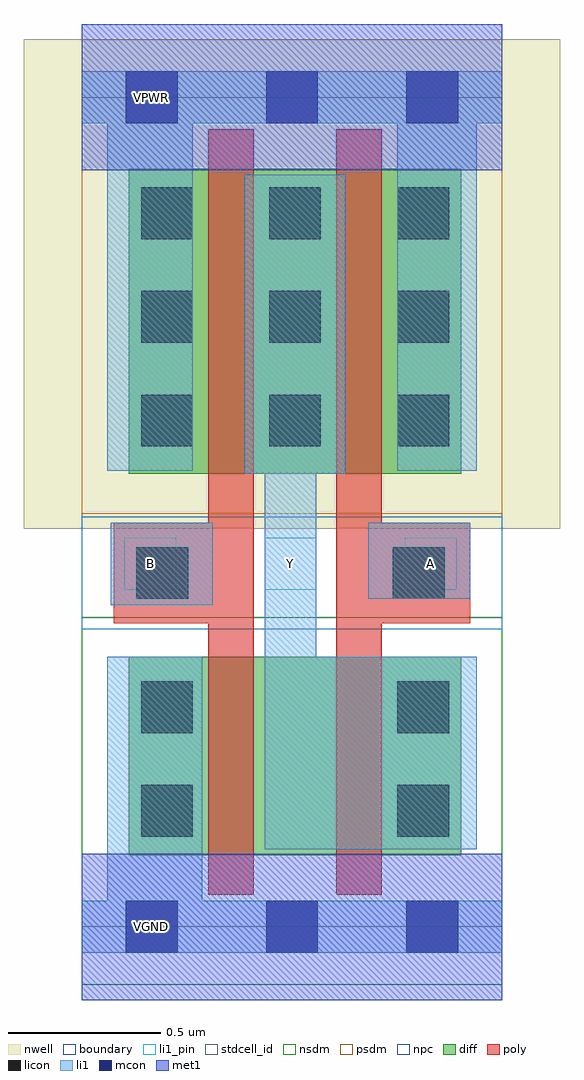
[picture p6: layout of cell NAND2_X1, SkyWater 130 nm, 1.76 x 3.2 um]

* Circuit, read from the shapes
.subckt NAND2_X1 A B VGND VPWR Y
XM1 n1 B VGND VSUBS sky130_fd_pr__nfet_01v8 w=0.65 l=0.15
XM2 Y A n1 VSUBS sky130_fd_pr__nfet_01v8 w=0.65 l=0.15
XM3 Y B VPWR n2 sky130_fd_pr__pfet_01v8 w=1 l=0.15
XM4 VPWR A Y n2 sky130_fd_pr__pfet_01v8 w=1 l=0.15
.ends

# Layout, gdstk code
import gdstk
lib = gdstk.Library(unit=1e-6, precision=1e-09)
def R(c, l, rs):  # rectangles x0, y0, x1, y1
    for r in rs: c.add(gdstk.rectangle(r[:2], r[2:], *l))
def A(c, l, x, y, w, h, nx, ny, dx, dy):  # array of equal rectangles
    R(c, l, [(x+i*dx, y+j*dy, x+i*dx+w, y+j*dy+h) for i in range(nx) for j in range(ny)])
nwell = (64, 20)
diff = (65, 20)
poly = (66, 20)
licon = (66, 44)
li1_pin = (67, 16)
li1 = (67, 20)
mcon = (67, 44)
met1 = (68, 20)
stdcell_id = (81, 4)
nsdm = (93, 44)
psdm = (94, 20)
npc = (95, 20)
boundary = (235, 4)

nand2_x1 = lib.new_cell('NAND2_X1')
R(nand2_x1, nwell, [(-0.19,1.305,1.57,2.91)])
R(nand2_x1, diff, [(0.155,0.235,1.245,0.885), (0.155,1.485,1.245,2.485)])
R(nand2_x1, poly, [(0.415,0.105,0.565,2.615), (0.835,0.105,0.985,2.615), (0.105,0.995,0.415,1.325), (0.985,0.995,1.275,1.325)])
A(nand2_x1, licon, 0.195, 1.575, 0.17, 0.17, 3, 3, 0.42, 0.34)
R(nand2_x1, licon, [(0.195,0.295,0.365,0.465), (1.035,0.295,1.205,0.465), (0.195,0.635,0.365,0.805), (1.035,0.635,1.205,0.805), (0.18,1.075,0.35,1.245), (1.02,1.075,1.19,1.245)])
A(nand2_x1, li1_pin, 0.14, 1.105, 0.17, 0.17, 3, 1, 0.46, 0)
R(nand2_x1, li1, [(0,-0.085,1.38,0.085), (0.085,0.085,0.395,0.885), (0.6,0.255,1.295,0.885), (0.6,0.885,0.77,1.485), (0.095,1.055,0.43,1.325), (0.94,1.075,1.275,1.325), (0.535,1.485,0.865,2.465), (0.085,1.495,0.365,2.635), (1.035,1.495,1.295,2.635), (0,2.635,1.38,2.805)])
A(nand2_x1, mcon, 0.145, -0.085, 0.17, 0.17, 3, 2, 0.46, 2.72)
R(nand2_x1, met1, [(0,-0.24,1.38,0.24), (0,2.48,1.38,2.96)])
R(nand2_x1, stdcell_id, [(0,0,1.38,2.72)])
R(nand2_x1, nsdm, [(0,-0.19,1.38,1.015)])
R(nand2_x1, psdm, [(0,1.355,1.38,2.91)])
R(nand2_x1, npc, [(0,0.975,1.38,1.345)])
R(nand2_x1, boundary, [(0,0,1.38,2.72)])
nand2_x1.add(gdstk.Label('VPWR', (0.23,2.72), layer=68, texttype=5))
nand2_x1.add(gdstk.Label('VGND', (0.23,0), layer=68, texttype=5))
nand2_x1.add(gdstk.Label('B', (0.225,1.19), layer=67, texttype=5))
nand2_x1.add(gdstk.Label('A', (1.145,1.19), layer=67, texttype=5))
nand2_x1.add(gdstk.Label('Y', (0.685,1.19), layer=67, texttype=5))

lib.write_gds('NAND2_X1.gds')
